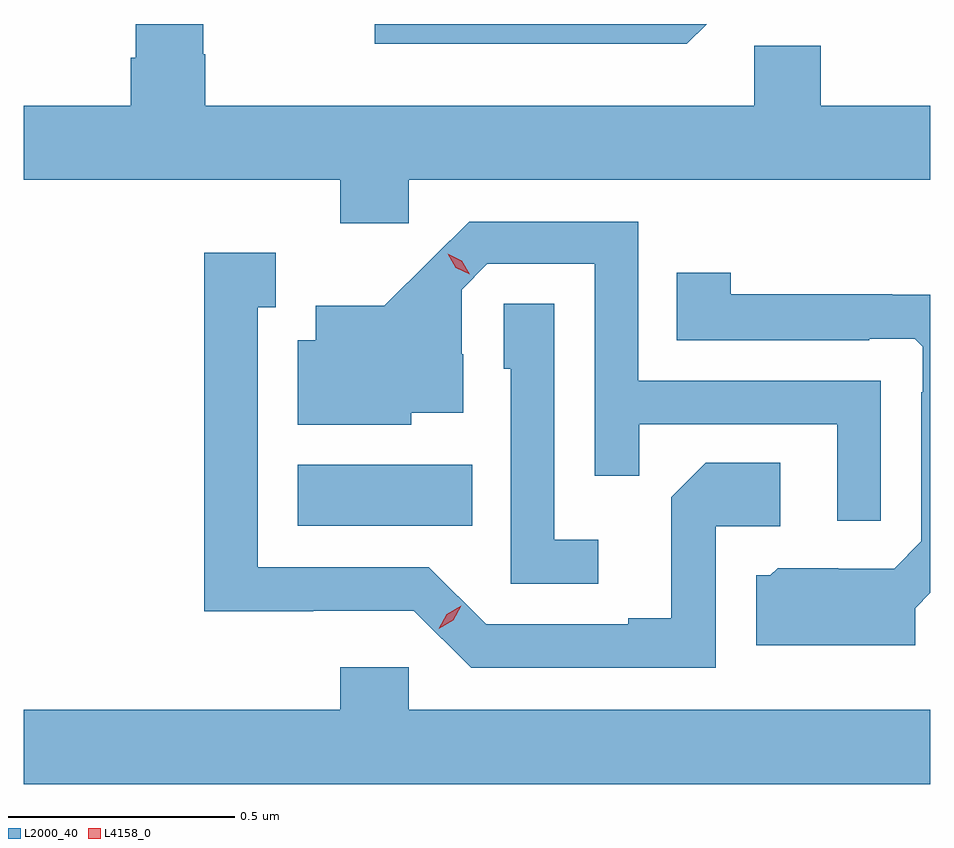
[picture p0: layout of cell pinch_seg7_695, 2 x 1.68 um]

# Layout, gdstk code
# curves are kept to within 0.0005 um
import gdstk
lib = gdstk.Library(unit=1e-6, precision=1e-09)
def R(c, l, rs):  # rectangles x0, y0, x1, y1
    for r in rs: c.add(gdstk.rectangle(r[:2], r[2:], *l))
def P(c, l, *ps):  # polygons
    for p in ps: c.add(gdstk.Polygon(p, *l))
L2000_40 = (2000, 40)
L4158_0 = (4158, 0)

pinch_seg7_695 = lib.new_cell('pinch_seg7_695')
R(pinch_seg7_695, L2000_40, [(155.798,1006.514,156.182,1006.648)])
P(pinch_seg7_695, L2000_40, [(156.042,1007.276),(157.193,1007.276),(157.193,1007.44),(156.951,1007.44),(156.951,1007.572),(156.804,1007.572),(156.804,1007.44),(155.594,1007.44),(155.594,1007.553),(155.589,1007.553),(155.589,1007.62),(155.441,1007.62),(155.441,1007.546),(155.429,1007.546),(155.429,1007.44),(155.193,1007.44),(155.193,1007.276),(155.891,1007.276),(155.891,1007.181),(156.042,1007.181)],
  [(156.7,1007.62),(155.967,1007.62),(155.967,1007.576),(156.656,1007.576)],
  [(157.083,1006.833),(156.549,1006.833),(156.549,1007.184),(156.176,1007.184),(155.989,1006.999),(155.837,1006.999),(155.837,1006.923),(155.798,1006.923),(155.798,1006.736),(156.048,1006.736),(156.048,1006.763),(156.163,1006.763),(156.163,1006.892),(156.159,1006.892),(156.159,1007.034),(156.216,1007.091),(156.453,1007.091),(156.453,1006.624),(156.551,1006.624),(156.551,1006.737),(156.987,1006.737),(156.987,1006.524),(157.083,1006.524)],
  [(156.72,1006.512),(156.862,1006.512),(156.862,1006.652),(156.697,1006.652),(156.621,1006.576),(156.621,1006.309),(156.527,1006.309),(156.527,1006.296),(156.213,1006.296),(156.087,1006.422),(155.71,1006.422),(155.71,1006.995),(155.749,1006.995),(155.749,1007.116),(155.592,1007.116),(155.592,1006.325),(155.832,1006.325),(155.832,1006.326),(156.054,1006.326),(156.18,1006.2),(156.72,1006.2)],
  [(157.159,1006.332),(157.193,1006.366),(157.193,1007.023),(157.109,1007.023),(157.109,1007.024),(156.753,1007.024),(156.753,1007.071),(156.634,1007.071),(156.634,1006.923),(157.058,1006.923),(157.058,1006.926),(157.158,1006.926),(157.176,1006.908),(157.176,1006.808),(157.173,1006.808),(157.173,1006.479),(157.113,1006.419),(156.99,1006.419),(156.99,1006.42),(156.856,1006.42),(156.84,1006.404),(156.809,1006.404),(156.809,1006.25),(157.159,1006.25)],
  [(156.46,1006.483),(156.363,1006.483),(156.363,1007.003),(156.252,1007.003),(156.252,1006.86),(156.267,1006.86),(156.267,1006.386),(156.46,1006.386)],
  [(157.193,1006.108),(156.042,1006.108),(156.042,1006.201),(155.891,1006.201),(155.891,1006.108),(155.193,1006.108),(155.193,1005.944),(157.193,1005.944)])
P(pinch_seg7_695, L4158_0, [(156.177,1007.068),(156.146,1007.083),(156.128,1007.113),(156.128,1007.113),(156.128,1007.113),(156.159,1007.098),(156.177,1007.068),(156.177,1007.068)],
  [(156.109,1006.286),(156.109,1006.286),(156.126,1006.318),(156.158,1006.337),(156.158,1006.337),(156.158,1006.337),(156.141,1006.305),(156.109,1006.286)])

lib.write_gds('pinch_seg7_695.gds')
